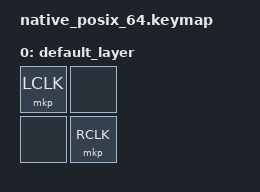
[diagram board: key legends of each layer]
#include <behaviors.dtsi>
#include <behaviors/mouse_keys.dtsi>
#include <dt-bindings/zmk/keys.h>
#include <dt-bindings/zmk/kscan_mock.h>
#include <dt-bindings/zmk/mouse.h>

/ {
    keymap {
        compatible = "zmk,keymap";

        default_layer {
            bindings = <
            &mkp LCLK &none
            &none     &mkp RCLK
            >;
        };
    };
};


&kscan {
    events = <
    ZMK_MOCK_PRESS  (0,0,100)
    ZMK_MOCK_PRESS  (1,1,100)
    ZMK_MOCK_RELEASE(1,1, 10)
    ZMK_MOCK_RELEASE(0,0, 10)
    >;
};
